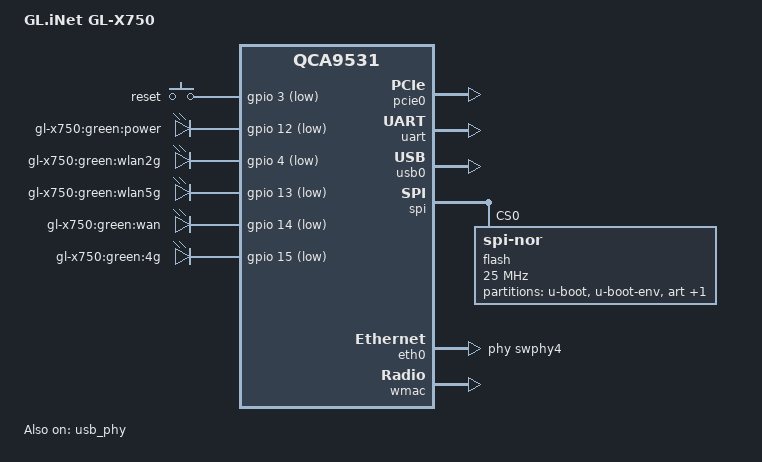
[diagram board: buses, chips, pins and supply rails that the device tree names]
// SPDX-License-Identifier: GPL-2.0-or-later OR MIT
/dts-v1/;

#include <dt-bindings/gpio/gpio.h>
#include <dt-bindings/input/input.h>

#include "qca953x.dtsi"

/ {
	compatible = "glinet,gl-x750", "qca,qca9531";
	model = "GL.iNet GL-X750";

	keys {
		compatible = "gpio-keys-polled";

		poll-interval = <20>;
		pinctrl-names = "default";
		pinctrl-0 = <&jtag_disable_pins>;

		button0 {
			label = "reset";
			linux,code = <KEY_RESTART>;
			gpios = <&gpio 3 GPIO_ACTIVE_LOW>;
		};
	};

	leds {
		compatible = "gpio-leds";

		power {
			label = "gl-x750:green:power";
			gpios = <&gpio 12 GPIO_ACTIVE_LOW>;
			default-state = "on";
		};

		wlan2g {
			label = "gl-x750:green:wlan2g";
			gpios = <&gpio 4 GPIO_ACTIVE_LOW>;
			linux,default-trigger = "phy1tpt";
		};

		wlan5g {
			label = "gl-x750:green:wlan5g";
			gpios = <&gpio 13 GPIO_ACTIVE_LOW>;
			linux,default-trigger = "phy0tpt";
		};

		wan {
			label = "gl-x750:green:wan";
			gpios = <&gpio 14 GPIO_ACTIVE_LOW>;
		};

		4g {
			label = "gl-x750:green:4g";
			gpios = <&gpio 15 GPIO_ACTIVE_LOW>;
		};
	};
};

&pcie0 {
	status = "okay";
};

&uart {
	status = "okay";
};

&usb0 {
	#address-cells = <1>;
	#size-cells = <0>;
	status = "okay";

	hub_port: port@1 {
		reg = <1>;
		#trigger-source-cells = <0>;
	};
};

&usb_phy {
	status = "okay";
};

&spi {
	status = "okay";
	num-cs = <0>;

	flash@0 {
		compatible = "jedec,spi-nor";
		reg = <0>;
		spi-max-frequency = <25000000>;

		partitions {
			compatible = "fixed-partitions";
			#address-cells = <1>;
			#size-cells = <1>;

			partition@0 {
				label = "u-boot";
				reg = <0x000000 0x040000>;
				read-only;
			};

			partition@40000 {
				label = "u-boot-env";
				reg = <0x040000 0x010000>;
			};

			art: partition@50000 {
				label = "art";
				reg = <0x050000 0x010000>;
			};

			partition@60000 {
				compatible = "denx,uimage";
				label = "firmware";
				reg = <0x060000 0xfa0000>;
			};
		};
	};
};

&eth0 {
	status = "okay";
	mtd-mac-address = <&art 0x0>;
	phy-handle = <&swphy4>;
};

&eth1 {
	mtd-mac-address = <&art 0x6>;
};

&wmac {
	status = "okay";
	mtd-cal-data = <&art 0x1000>;
	mtd-mac-address = <&art 0x1002>;
};
